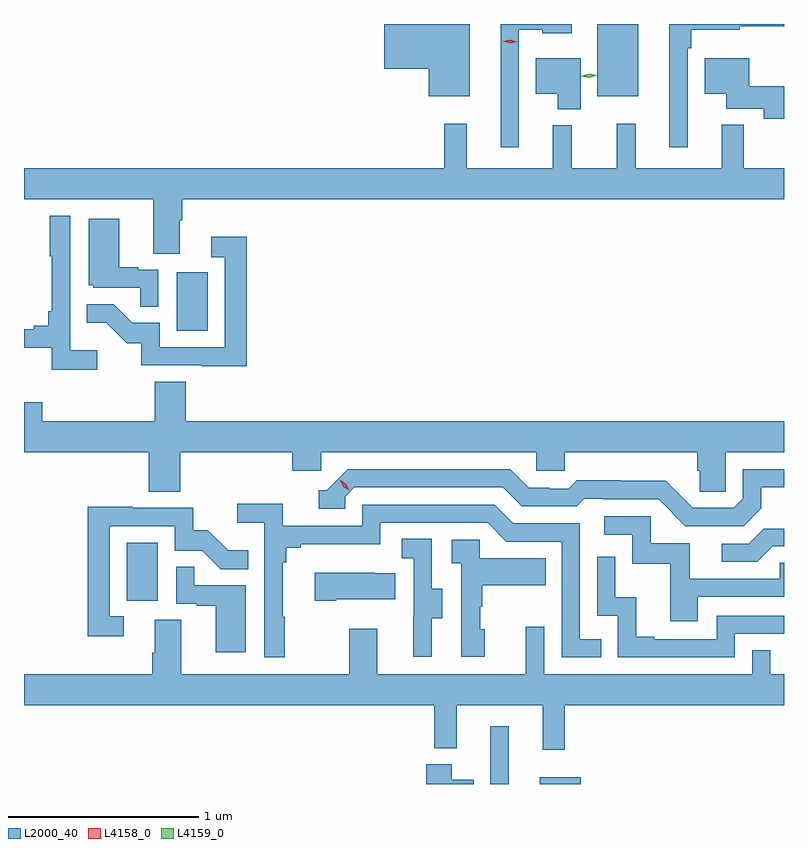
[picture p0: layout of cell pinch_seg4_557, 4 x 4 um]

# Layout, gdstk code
import gdstk
lib = gdstk.Library(unit=1e-6, precision=1e-09)
def R(c, l, rs):  # rectangles x0, y0, x1, y1
    for r in rs: c.add(gdstk.rectangle(r[:2], r[2:], *l))
def P(c, l, *ps):  # polygons
    for p in ps: c.add(gdstk.Polygon(p, *l))
L2000_40 = (2000, 40)
L4158_0 = (4158, 0)
L4159_0 = (4159, 0)

pinch_seg4_557 = lib.new_cell('pinch_seg4_557')
R(pinch_seg4_557, L2000_40, [(1092.309,787.082,1092.406,787.387), (1092.569,787.082,1092.784,787.117), (1090.394,788.046,1090.558,788.353), (1090.658,789.468,1090.822,789.775), (1092.872,790.703,1093.087,791.082)])
P(pinch_seg4_557, L2000_40, [(1092.459,791.051),(1092.582,791.051),(1092.582,791.033),(1092.736,791.033),(1092.736,791.082),(1092.362,791.082),(1092.362,790.434),(1092.459,790.434)],
  [(1093.347,790.955),(1093.367,790.955),(1093.367,791.051),(1093.621,791.051),(1093.621,791.07),(1093.854,791.07),(1093.854,791.082),(1093.25,791.082),(1093.25,790.434),(1093.347,790.434)],
  [(1092.199,791.082),(1091.75,791.082),(1091.75,790.847),(1091.984,790.847),(1091.984,790.703),(1092.199,790.703)],
  [(1093.854,790.755),(1093.672,790.755),(1093.672,790.903),(1093.436,790.903),(1093.436,790.715),(1093.55,790.715),(1093.55,790.637),(1093.748,790.637),(1093.748,790.583),(1093.854,790.583)],
  [(1092.784,790.903),(1092.548,790.903),(1092.548,790.715),(1092.662,790.715),(1092.662,790.634),(1092.784,790.634)],
  [(1090.675,790.048),(1090.688,790.048),(1090.688,790.16),(1093.854,790.16),(1093.854,790.324),(1093.643,790.324),(1093.643,790.552),(1093.526,790.552),(1093.526,790.324),(1093.073,790.324),(1093.073,790.558),(1092.973,790.558),(1092.973,790.324),(1092.738,790.324),(1092.738,790.549),(1092.638,790.549),(1092.638,790.324),(1092.185,790.324),(1092.185,790.558),(1092.067,790.558),(1092.067,790.324),(1089.854,790.324),(1089.854,790.16),(1090.535,790.16),(1090.535,789.874),(1090.675,789.874)],
  [(1090.24,789.364),(1090.098,789.364),(1090.098,790.072),(1089.99,790.072),(1089.99,789.859),(1090.001,789.859),(1090.001,789.571),(1089.982,789.571),(1089.982,789.494),(1089.905,789.494),(1089.905,789.475),(1089.854,789.475),(1089.854,789.378),(1090.001,789.378),(1090.001,789.262),(1090.24,789.262)],
  [(1090.56,789.789),(1090.454,789.789),(1090.454,789.802),(1090.354,789.802),(1090.354,790.057),(1090.196,790.057),(1090.196,789.708),(1090.218,789.708),(1090.218,789.693),(1090.465,789.693),(1090.465,789.595),(1090.56,789.595)],
  [(1091.027,789.961),(1090.839,789.961),(1090.839,789.855),(1090.911,789.855),(1090.911,789.381),(1090.569,789.381),(1090.569,789.51),(1090.425,789.51),(1090.327,789.608),(1090.183,789.608),(1090.183,789.509),(1090.287,789.509),(1090.394,789.402),(1090.471,789.402),(1090.471,789.285),(1090.789,789.285),(1090.789,789.28),(1091.027,789.28)],
  [(1090.676,788.828),(1091.267,788.828),(1091.267,788.73),(1091.418,788.73),(1091.418,788.828),(1092.549,788.828),(1092.549,788.73),(1092.699,788.73),(1092.699,788.828),(1093.397,788.828),(1093.397,788.73),(1093.411,788.73),(1093.411,788.62),(1093.548,788.62),(1093.548,788.828),(1093.854,788.828),(1093.854,788.992),(1090.706,788.992),(1090.706,789.2),(1090.541,789.2),(1090.541,788.992),(1089.95,788.992),(1089.95,789.09),(1089.854,789.09),(1089.854,788.828),(1090.511,788.828),(1090.511,788.62),(1090.676,788.62)],
  [(1093.735,788.533),(1093.735,788.643),(1093.854,788.643),(1093.854,788.739),(1093.638,788.739),(1093.638,788.583),(1093.59,788.535),(1093.374,788.535),(1093.232,788.677),(1092.996,788.677),(1092.996,788.68),(1092.763,788.68),(1092.721,788.637),(1092.618,788.637),(1092.618,788.64),(1092.511,788.64),(1092.412,788.739),(1091.559,788.739),(1091.448,788.628),(1091.405,788.628),(1091.405,788.532),(1091.544,788.532),(1091.544,788.595),(1091.592,788.643),(1092.375,788.643),(1092.474,788.544),(1092.763,788.544),(1092.802,788.583),(1092.901,788.583),(1092.901,788.58),(1093.194,788.58),(1093.335,788.439),(1093.641,788.439)],
  [(1091.227,787.961),(1091.215,787.961),(1091.215,788.249),(1091.234,788.249),(1091.234,788.326),(1091.311,788.326),(1091.311,788.345),(1091.73,788.345),(1091.73,788.457),(1092.294,788.457),(1092.393,788.358),(1092.684,788.358),(1092.684,787.749),(1092.893,787.749),(1092.893,787.845),(1092.78,787.845),(1092.78,788.454),(1092.43,788.454),(1092.331,788.553),(1091.634,788.553),(1091.634,788.442),(1091.216,788.442),(1091.216,788.558),(1090.977,788.558),(1090.977,788.456),(1091.118,788.456),(1091.118,787.749),(1091.227,787.749)],
  [(1090.378,787.965),(1090.305,787.965),(1090.305,788.439),(1090.647,788.439),(1090.647,788.31),(1090.791,788.31),(1090.889,788.212),(1091.033,788.212),(1091.033,788.311),(1090.929,788.311),(1090.822,788.418),(1090.746,788.418),(1090.746,788.535),(1090.427,788.535),(1090.427,788.54),(1090.189,788.54),(1090.189,787.86),(1090.378,787.86)],
  [(1093.399,788.067),(1093.854,788.067),(1093.854,788.247),(1093.831,788.247),(1093.831,788.163),(1093.357,788.163),(1093.357,788.349),(1093.152,788.349),(1093.152,788.49),(1092.909,788.49),(1092.909,788.394),(1093.056,788.394),(1093.056,788.241),(1093.255,788.241),(1093.255,787.938),(1093.399,787.938)],
  [(1093.795,788.334),(1093.854,788.334),(1093.854,788.426),(1093.748,788.426),(1093.668,788.346),(1093.527,788.346),(1093.527,788.253),(1093.714,788.253)],
  [(1092.001,787.954),(1092.055,787.954),(1092.055,788.109),(1092,788.109),(1092,788.372),(1091.841,788.372),(1091.841,788.269),(1091.904,788.269),(1091.904,787.965),(1091.903,787.965),(1091.903,787.752),(1092.001,787.752)],
  [(1092.28,787.896),(1092.255,787.896),(1092.255,788.015),(1092.265,788.015),(1092.265,788.129),(1092.599,788.129),(1092.599,788.269),(1092.252,788.269),(1092.252,788.367),(1092.105,788.367),(1092.105,788.243),(1092.156,788.243),(1092.156,787.752),(1092.28,787.752)],
  [(1093.596,787.872),(1093.854,787.872),(1093.854,787.968),(1093.5,787.968),(1093.5,787.845),(1093.171,787.845),(1093.171,787.858),(1093.076,787.858),(1093.076,788.066),(1092.966,788.066),(1092.966,788.278),(1092.87,788.278),(1092.87,787.968),(1092.978,787.968),(1092.978,787.749),(1093.596,787.749)],
  [(1091.02,788.127),(1090.751,788.127),(1090.751,788.225),(1090.656,788.225),(1090.656,788.031),(1090.763,788.031),(1090.763,788.019),(1090.862,788.019),(1090.862,787.776),(1091.02,787.776)],
  [(1091.497,788.054),(1091.807,788.054),(1091.807,788.191),(1091.699,788.191),(1091.699,788.194),(1091.385,788.194),(1091.385,788.047),(1091.497,788.047)],
  [(1092.701,787.496),(1093.854,787.496),(1093.854,787.66),(1093.782,787.66),(1093.782,787.787),(1093.686,787.787),(1093.686,787.66),(1092.591,787.66),(1092.591,787.909),(1092.494,787.909),(1092.494,787.66),(1091.713,787.66),(1091.713,787.9),(1091.566,787.9),(1091.566,787.66),(1090.681,787.66),(1090.681,787.946),(1090.541,787.946),(1090.541,787.772),(1090.529,787.772),(1090.529,787.66),(1089.854,787.66),(1089.854,787.496),(1092.013,787.496),(1092.013,787.271),(1092.131,787.271),(1092.131,787.496),(1092.584,787.496),(1092.584,787.263),(1092.701,787.263)],
  [(1092.22,787.105),(1092.106,787.105),(1092.106,787.186),(1091.972,787.186),(1091.972,787.082),(1092.22,787.082)])
P(pinch_seg4_557, L4158_0, [(1092.412,790.98),(1092.377,790.992),(1092.377,790.992),(1092.377,790.992),(1092.413,791),(1092.448,790.989),(1092.449,790.989),(1092.448,790.989)],
  [(1091.566,788.628),(1091.535,788.647),(1091.519,788.679),(1091.519,788.68),(1091.52,788.68),(1091.55,788.66),(1091.566,788.628),(1091.566,788.628)])
P(pinch_seg4_557, L4159_0, [(1092.828,790.8),(1092.786,790.807),(1092.786,790.808),(1092.786,790.808),(1092.827,790.82),(1092.868,790.812),(1092.868,790.812),(1092.868,790.812)])

lib.write_gds('pinch_seg4_557.gds')
